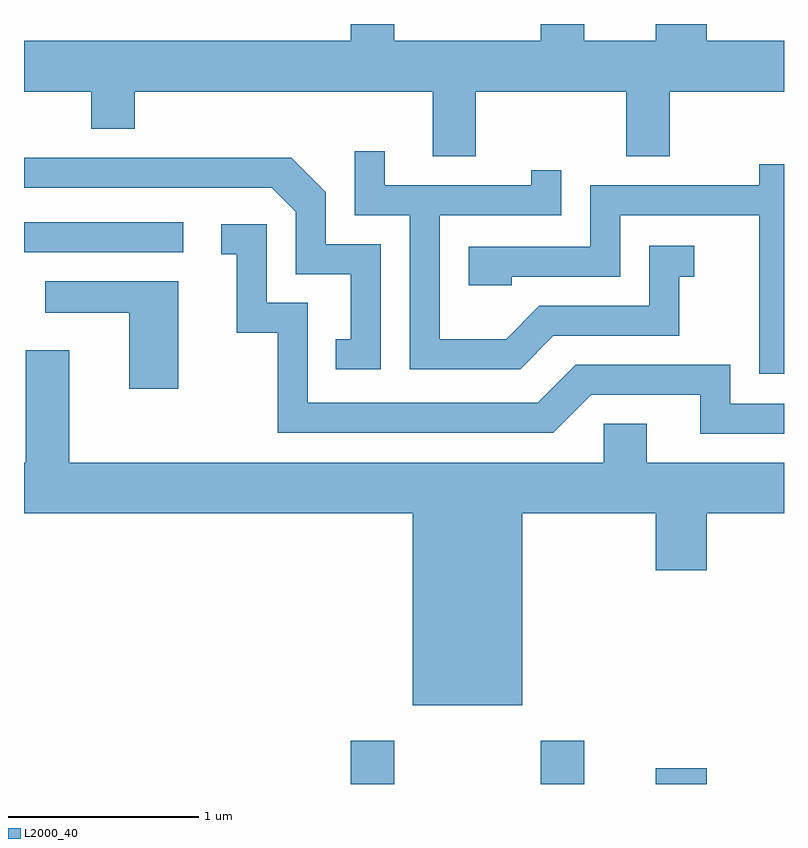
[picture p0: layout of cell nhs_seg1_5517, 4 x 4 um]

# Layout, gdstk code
import gdstk
lib = gdstk.Library(unit=1e-6, precision=1e-09)
def R(c, l, rs):  # rectangles x0, y0, x1, y1
    for r in rs: c.add(gdstk.rectangle(r[:2], r[2:], *l))
def P(c, l, *ps):  # polygons
    for p in ps: c.add(gdstk.Polygon(p, *l))
L2000_40 = (2000, 40)

nhs_seg1_5517 = lib.new_cell('nhs_seg1_5517')
R(nhs_seg1_5517, L2000_40, [(353.331,893.712,353.559,893.939), (354.331,893.712,354.559,893.939), (354.936,893.712,355.204,893.794), (351.611,896.511,352.448,896.669)])
P(nhs_seg1_5517, L2000_40, [(353.989,897.356),(354.781,897.356),(354.781,897.016),(355.009,897.016),(355.009,897.356),(355.611,897.356),(355.611,897.624),(355.204,897.624),(355.204,897.712),(354.936,897.712),(354.936,897.624),(354.559,897.624),(354.559,897.712),(354.331,897.712),(354.331,897.624),(353.559,897.624),(353.559,897.712),(353.331,897.712),(353.331,897.624),(351.611,897.624),(351.611,897.356),(351.966,897.356),(351.966,897.161),(352.194,897.161),(352.194,897.356),(353.761,897.356),(353.761,897.016),(353.989,897.016)],
  [(354.397,896.071),(355.059,896.071),(355.059,896.381),(355.138,896.381),(355.138,896.544),(354.901,896.544),(354.901,896.229),(354.324,896.229),(354.149,896.054),(353.799,896.054),(353.799,896.706),(354.439,896.706),(354.439,896.943),(354.281,896.943),(354.281,896.864),(353.509,896.864),(353.509,897.043),(353.351,897.043),(353.351,896.706),(353.641,896.706),(353.641,895.896),(354.222,895.896)],
  [(353.489,896.554),(353.199,896.554),(353.199,896.827),(353.017,897.009),(351.611,897.009),(351.611,896.851),(352.914,896.851),(353.041,896.724),(353.041,896.396),(353.331,896.396),(353.331,896.054),(353.253,896.054),(353.253,895.896),(353.489,895.896)],
  [(355.611,896.974),(355.481,896.974),(355.481,896.864),(354.591,896.864),(354.591,896.539),(353.951,896.539),(353.951,896.336),(354.179,896.336),(354.179,896.381),(354.749,896.381),(354.749,896.706),(355.481,896.706),(355.481,895.871),(355.611,895.871)],
  [(355.611,895.714),(355.329,895.714),(355.329,895.919),(354.514,895.919),(354.314,895.719),(353.104,895.719),(353.104,896.244),(352.889,896.244),(352.889,896.659),(352.648,896.659),(352.648,896.501),(352.731,896.501),(352.731,896.086),(352.946,896.086),(352.946,895.561),(354.397,895.561),(354.597,895.761),(355.171,895.761),(355.171,895.556),(355.611,895.556)],
  [(352.424,896.359),(351.723,896.359),(351.723,896.191),(352.166,896.191),(352.166,895.791),(352.424,895.791)],
  [(354.234,895.136),(354.936,895.136),(354.936,894.836),(355.204,894.836),(355.204,895.136),(355.611,895.136),(355.611,895.404),(354.889,895.404),(354.889,895.609),(354.661,895.609),(354.661,895.404),(351.849,895.404),(351.849,895.994),(351.621,895.994),(351.621,895.404),(351.611,895.404),(351.611,895.136),(353.656,895.136),(353.656,894.126),(354.234,894.126)])

lib.write_gds('nhs_seg1_5517.gds')
